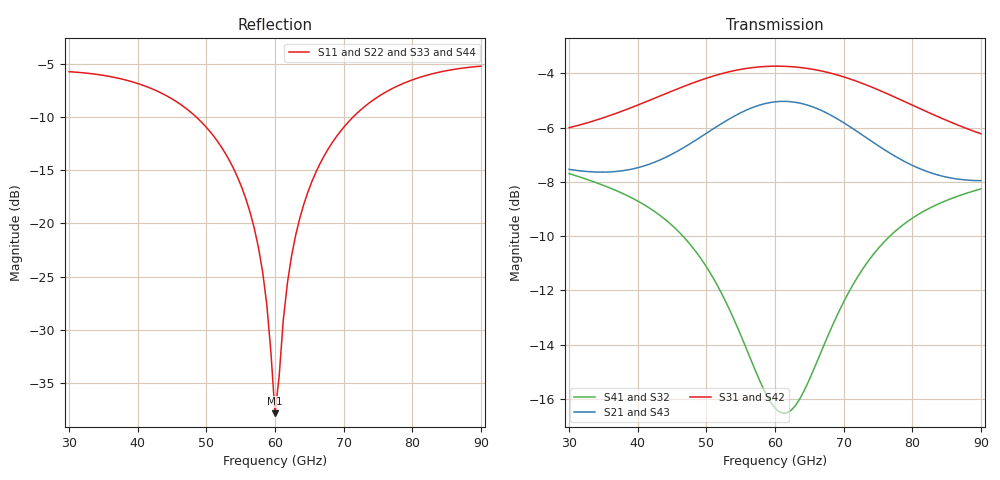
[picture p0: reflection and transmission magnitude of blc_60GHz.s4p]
#  GHZ S DB R 50
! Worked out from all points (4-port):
!   101 points, 30 GHz to 90 GHz, reference 50 ohm
!   strongest paths, dB at 30 GHz, 45 GHz, 60 GHz, 75 GHz, 90 GHz:
!     S31: -6.0, -4.7, -3.7, -4.6, -6.2
!     S42: -6.0, -4.7, -3.7, -4.6, -6.2
!     S21: -7.5, -7.0, -5.1, -6.7, -8.0
!     S43: -7.5, -7.0, -5.1, -6.7, -8.0
!     S41: -7.7, -9.6, -16.3, -10.5, -8.3
!     S32: -7.7, -9.6, -16.3, -10.5, -8.3
!   lowest |S11| = -37.8 dB at 60 GHz (marker M1), VSWR 1.03, Z = 51.2 + j0.381 ohm
!   |S11| at or under -10 dB: 48.51 GHz to 71.39 GHz (22.88 GHz wide, 38.2 % of centre)
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30  -5.75 159.3  -7.54 -47.2  -6.00 -81.4  -7.70 -63.1
    -7.54 -47.2  -5.75 159.3  -7.70 -63.1  -6.01 -81.4
    -6.00 -81.4  -7.70 -63.1  -5.75 159.3  -7.54 -47.3
    -7.70 -63.1  -6.01 -81.4  -7.54 -47.3  -5.75 159.3
52.8  -13.46 107.7  -5.76 -73.2  -3.98 -152.6  -12.41 -110.4
      -5.76 -73.2  -13.44 107.8  -12.41 -110.4  -3.98 -152.6
      -3.98 -152.6  -12.41 -110.4  -13.46 107.7  -5.76 -73.3
      -12.41 -110.4  -3.98 -152.6  -5.76 -73.3  -13.44 107.8
57.6  -22.30 88.2  -5.18 -84.8  -3.77 -170.6  -15.23 -108.7
      -5.18 -84.8  -22.25 88.3  -15.23 -108.7  -3.77 -170.6
      -3.77 -170.6  -15.23 -108.7  -22.32 88.2  -5.18 -84.8
      -15.23 -108.7  -3.77 -170.6  -5.18 -84.8  -22.25 88.3
60  -37.83 16.9  -5.05 -91.3  -3.74 -179.7  -16.34 -100.3
    -5.05 -91.3  -37.69 18.8  -16.34 -100.3  -3.74 -179.7
    -3.74 -179.7  -16.34 -100.3  -37.80 16.0  -5.05 -91.3
    -16.34 -100.3  -3.74 -179.7  -5.05 -91.3  -37.71 19.0
63  -21.14 -89.8  -5.07 -99.6  -3.77 168.9  -16.24 -85.9
    -5.07 -99.6  -21.18 -89.6  -16.24 -85.9  -3.77 168.9
    -3.77 168.9  -16.24 -85.9  -21.12 -89.7  -5.07 -99.7
    -16.24 -85.9  -3.77 168.9  -5.07 -99.7  -21.19 -89.7
67.8  -12.95 -108.2  -5.50 -112.2  -3.98 150.8  -13.62 -76.2
      -5.50 -112.2  -12.97 -108.1  -13.63 -76.1  -3.97 150.8
      -3.98 150.8  -13.63 -76.1  -12.94 -108.1  -5.50 -112.2
      -13.62 -76.2  -3.97 150.8  -5.50 -112.2  -12.97 -108.1
90  -5.23 -159.7  -7.96 -140.9  -6.23 79.7  -8.26 -119.2
    -7.96 -140.9  -5.23 -159.6  -8.26 -119.1  -6.22 79.7
    -6.23 79.7  -8.26 -119.1  -5.23 -159.6  -7.96 -140.9
    -8.26 -119.2  -6.22 79.7  -7.96 -140.9  -5.23 -159.7
